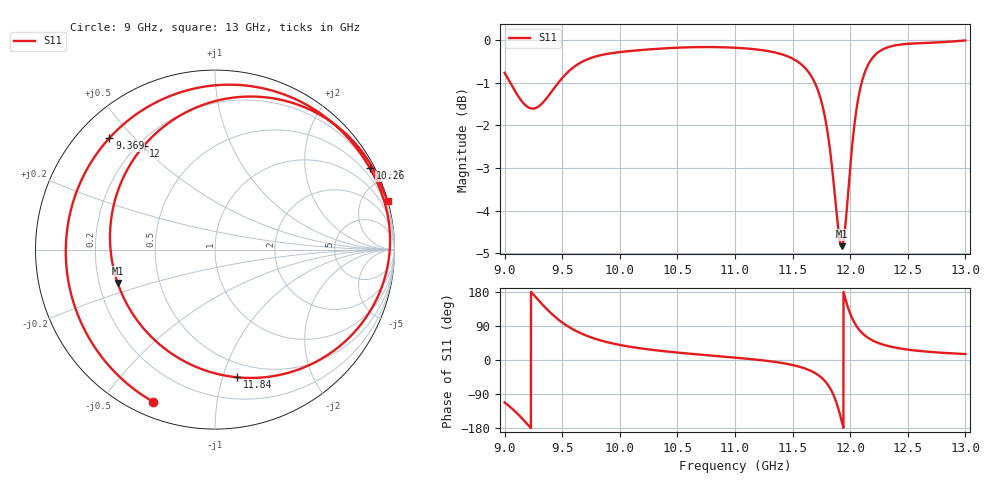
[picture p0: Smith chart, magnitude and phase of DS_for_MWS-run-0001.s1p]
! TOUCHSTONE file generated by CST DESIGN STUDIO
! Date and time: Tue Feb  4 14:33:59 2025
! Project name: C:\Work\MatlabApps\UnitCellOptimizationMatlab\CST\unitcell.cst
! Tree item: Tasks\Sweep1\SPara1\S-Parameters
! Header version: 2024
! Port assignment regex: !\s*Touchstone port\s*([0-9]+)\s*=\s*(CST MWS port|CST DES external port|CST DES block port)\s*(.+)\s* \(\"(.*)\"\)(\s*mode\s*([0-9]+))?.*
! Touchstone port assignment:
! Touchstone port 1 = CST DES external port 1 ("")
# GHz S MA R 50
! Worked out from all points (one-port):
!   4001 points, 9 GHz to 13 GHz, reference 50 ohm
!   lowest |S11| = -4.8 dB at 11.93 GHz (marker M1), VSWR 3.69, Z = 13.9 - j7.68 ohm
!   |S11| at or under -10 dB: nowhere
!   S11 on the Smith chart (normalised r, x): 9 GHz: 0.06, -0.67; 9.369 GHz: 0.09, +0.43; 10.26 GHz: 0.22, +4.05; 11.84 GHz: 0.38, -1.12; 12 GHz: 0.22, +0.51; 13 GHz: 0.04, +7.26
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9  0.9153 -112.1
9.094  0.8696 -136.6
9.202  0.8343 -170.8
9.281  0.8337 162.1
9.369  0.856 133.4
9.5  0.9024 99.0
9.722  0.9495 62.8
10  0.9678 39.8
10.256  0.9749 27.7
10.5  0.9793 19.6
11  0.9792 6.3
11.5  0.9509 -13.2
11.623  0.9225 -24.1
11.71  0.8799 -37.3
11.777  0.8171 -54.4
11.836  0.7219 -80.2
11.882  0.6252 -113.9
11.926  0.5734 -161.1
11.959  0.6083 160.5
11.997  0.7012 124.5
12  0.709 122.2
12.031  0.7837 101.5
12.067  0.8498 84.0
12.121  0.9115 66.3
12.182  0.9482 53.6
12.308  0.9784 38.6
12.5  0.9896 27.4
13  0.9986 15.7
